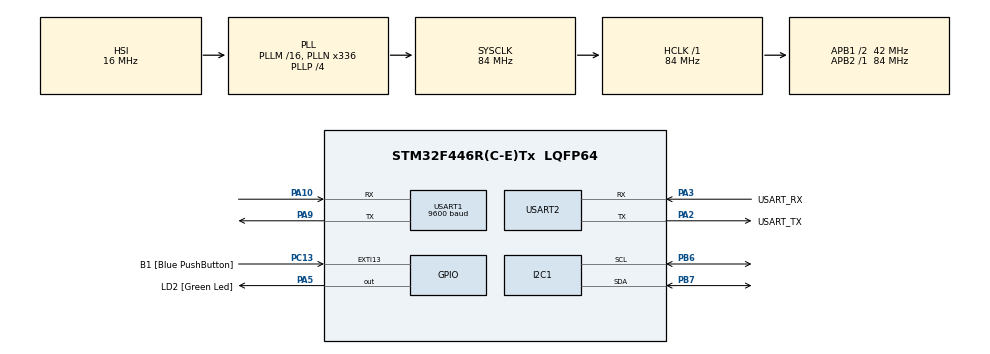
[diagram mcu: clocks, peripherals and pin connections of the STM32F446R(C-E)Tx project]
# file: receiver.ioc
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Mcu.Family=STM32F4
Mcu.Name=STM32F446R(C-E)Tx
Mcu.Package=LQFP64
NVIC.PriorityGroup=NVIC_PRIORITYGROUP_0
PA10.Mode=Asynchronous
PA10.Signal=USART1_RX
PA13.GPIO_Label=TMS
PA13.Mode=Serial_Wire
PA13.Signal=SYS_JTMS-SWDIO
PA14.GPIO_Label=TCK
PA14.Mode=Serial_Wire
PA14.Signal=SYS_JTCK-SWCLK
PA2.GPIO_Label=USART_TX
PA2.Mode=Asynchronous
PA2.Signal=USART2_TX
PA3.GPIO_Label=USART_RX
PA3.Mode=Asynchronous
PA3.Signal=USART2_RX
PA5.GPIO_Label=LD2 [Green Led]
PA5.Signal=GPIO_Output
PA9.Mode=Asynchronous
PA9.Signal=USART1_TX
PB3.GPIO_Label=SWO
PB3.Signal=SYS_JTDO-SWO
PB6.Mode=I2C
PB6.Signal=I2C1_SCL
PB7.Mode=I2C
PB7.Signal=I2C1_SDA
PC13.GPIO_Label=B1 [Blue PushButton]
PC13.GPIO_ModeDefaultEXTI=GPIO_MODE_IT_FALLING
PC13.Signal=GPXTI13
PC14-OSC32_IN.Mode=LSE-External-Oscillator
PC14-OSC32_IN.Signal=RCC_OSC32_IN
PC15-OSC32_OUT.Mode=LSE-External-Oscillator
PC15-OSC32_OUT.Signal=RCC_OSC32_OUT
PH0-OSC_IN.Mode=HSE-External-Oscillator
PH0-OSC_IN.Signal=RCC_OSC_IN
PH1-OSC_OUT.Mode=HSE-External-Oscillator
PH1-OSC_OUT.Signal=RCC_OSC_OUT
ProjectManager.HeapSize=0x200
ProjectManager.StackSize=0x400
ProjectManager.TargetToolchain=STM32CubeIDE
RCC.48MHZClocksFreq_Value=84000000
RCC.AHBFreq_Value=84000000
RCC.APB1CLKDivider=RCC_HCLK_DIV2
RCC.APB1Freq_Value=42000000
RCC.APB1TimFreq_Value=84000000
RCC.APB2Freq_Value=84000000
RCC.APB2TimFreq_Value=84000000
RCC.CortexFreq_Value=84000000
RCC.FLatency-AdvancedSettings=FLASH_LATENCY_2
RCC.HCLKFreq_Value=84000000
RCC.HSE_VALUE=8000000
RCC.HSI_VALUE=16000000
RCC.PLLN=336
RCC.PLLP=RCC_PLLP_DIV4
RCC.SYSCLKFreq_VALUE=84000000
RCC.SYSCLKSource=RCC_SYSCLKSOURCE_PLLCLK
RCC.USBFreq_Value=168000000
RCC.VCOOutputFreq_Value=336000000
USART1.BaudRate=9600
USART1.VirtualMode=VM_ASYNC
USART2.VirtualMode=VM_ASYNC
board=NUCLEO-F446RE

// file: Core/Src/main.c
/* USER CODE BEGIN Header */
/**
  ******************************************************************************
  * @file           : main.c
  * @brief          : Main program body
  ******************************************************************************
  * @attention
  *
  * Copyright (c) 2024 STMicroelectronics.
  * All rights reserved.
  *
  * This software is licensed under terms that can be found in the LICENSE file
  * in the root directory of this software component.
  * If no LICENSE file comes with this software, it is provided AS-IS.
  *
  ******************************************************************************
  */
/* USER CODE END Header */
#include "main.h"

/* USER CODE BEGIN Includes */
#include <stdint.h>
#include <string.h>
#include <stdio.h>
/* USER CODE END Includes */

/* USER CODE BEGIN PD */
#define SLAVE_ADDRESS_LCD 0x27
//#define LCD_DEBUG
//#define NOT_CONNECTED
/* USER CODE END PD */

I2C_HandleTypeDef hi2c1;

UART_HandleTypeDef huart1;
UART_HandleTypeDef huart2;

void SystemClock_Config(void);
static void MX_GPIO_Init(void);
static void MX_USART2_UART_Init(void);
static void MX_USART1_UART_Init(void);
static void MX_I2C1_Init(void);

/* USER CODE BEGIN 0 */
#define DATA_SIZE 30
char dataBuffer[DATA_SIZE];
void receiveData(char* buffer) {
    HAL_StatusTypeDef status = HAL_UART_Receive(&huart1, (uint8_t*)buffer, DATA_SIZE, 15000);
#ifdef NOT_CONNECTED
    if (status == HAL_OK) {
        HAL_UART_Transmit(&huart2, (uint8_t*)buffer, strlen(buffer), HAL_MAX_DELAY);
    } else {
        char data[30];
        sprintf(data, "HAL_UART_Receive error: %d\r\n", status);
        HAL_UART_Transmit(&huart2, (uint8_t*)data, strlen(data), HAL_MAX_DELAY);
    }
#endif
}

char tmp[16];
char VWC[16];
void translate(char* buffer, char* tmp, char* VWC) {
    int bufferIndex = 0;
    int tmpIndex = 0;
    while (dataBuffer[bufferIndex] != '\r' && dataBuffer[bufferIndex] != '\0') {
        tmp[tmpIndex] = dataBuffer[bufferIndex];
        tmpIndex++;
        bufferIndex++;
    }
    tmp[tmpIndex] = '\0';
    bufferIndex += 2;

    int VWCIndex = 0;
    while(dataBuffer[bufferIndex] != '\r' && dataBuffer[bufferIndex] != '\0') {
        VWC[VWCIndex] = dataBuffer[bufferIndex];
        VWCIndex++;
        bufferIndex++;
    }
}

//lcd1602 with i2c module
void lcd_send_cmd (char cmd) {
    char data_u, data_l;
    data_u = (cmd & 0xf0);
    data_l = ((cmd << 4) & 0xf0);
    uint8_t data_t[4];
    data_t[0] = data_u|0x0C;  // en=1, rs=0 -> bxxxx1100
    data_t[1] = data_u|0x08;  // en=0, rs=0 -> bxxxx1000
    data_t[2] = data_l|0x0C;  // en=1, rs=0 -> bxxxx1100
    data_t[3] = data_l|0x08;  // en=0, rs=0 -> bxxxx1000

    HAL_StatusTypeDef status = HAL_I2C_Master_Transmit(&hi2c1, SLAVE_ADDRESS_LCD << 1, (uint8_t *)data_t, 4, 100);

    // Debug message
#ifdef LCD_DEBUG
    if (status != HAL_OK) {
        char data[50];
        sprintf(data, "I2C Error: %d during cmd: 0x%02X\r\n", status, cmd);
        HAL_UART_Transmit(&huart2, (uint8_t*)data, strlen(data), HAL_MAX_DELAY);
    } else {
        char data[50];
        sprintf(data, "I2C Success: cmd: 0x%02X\r\n", cmd);
        HAL_UART_Transmit(&huart2, (uint8_t*)data, strlen(data), HAL_MAX_DELAY);
    }
#endif
}

void lcd_send_data (char data) {
    char data_u, data_l;
    uint8_t data_t[4];
    data_u = (data & 0xf0);
    data_l = ((data << 4) & 0xf0);
    data_t[0] = data_u | 0x0D;  // en=1, rs=1 -> bxxxx1101
    data_t[1] = data_u | 0x09;  // en=0, rs=1 -> bxxxx1001
    data_t[2] = data_l | 0x0D;  // en=1, rs=1 -> bxxxx1101
    data_t[3] = data_l | 0x09;  // en=0, rs=1 -> bxxxx1001

    HAL_StatusTypeDef status = HAL_I2C_Master_Transmit(&hi2c1, SLAVE_ADDRESS_LCD << 1, (uint8_t *)data_t, 4, 100);

    // Debug message
#ifdef LCD_DEBUG
    if (status != HAL_OK) {
        char debug_data[50];
        sprintf(debug_data, "I2C Error: %d during data: 0x%02X\r\n", status, data);
        HAL_UART_Transmit(&huart2, (uint8_t*)debug_data, strlen(debug_data), HAL_MAX_DELAY);
    } else {
        char debug_data[50];
        sprintf(debug_data, "I2C Success: data: 0x%02X\r\n", data);
        HAL_UART_Transmit(&huart2, (uint8_t*)debug_data, strlen(debug_data), HAL_MAX_DELAY);
    }
#endif
}

void lcd_init (void) {
    // 4 bit initialisation
    HAL_Delay(100);  // wait for >40ms
    lcd_send_cmd (0x30);
    HAL_Delay(10);  // wait for >4.1ms
    lcd_send_cmd (0x30);
    HAL_Delay(5);  // wait for >100us
    lcd_send_cmd (0x30);
    HAL_Delay(20);
    lcd_send_cmd (0x20);  // 4bit mode
    HAL_Delay(20);

    // display initialisation
    lcd_send_cmd (0x28); // Function set --> DL=0 (4 bit mode), N = 1 (2 line display) F = 0 (5x8 characters)
    HAL_Delay(5);
    lcd_send_cmd (0x08); //Display on/off control --> D=0,C=0, B=0  ---> display off
    HAL_Delay(5);
    lcd_send_cmd (0x01);  // clear display
    HAL_Delay(10);
    lcd_send_cmd (0x06); //Entry mode set --> I/D = 1 (increment cursor) & S = 0 (no shift)
    HAL_Delay(5);
    lcd_send_cmd (0x0C); //Display on/off control --> D = 1, C and B = 0. (Cursor and blink, last two bits)

    // Debug message
#ifdef LCD_DEBUG
    char data[30];
    sprintf(data, "LCD Initialized\r\n");
    HAL_UART_Transmit(&huart2, (uint8_t*)data, strlen(data), HAL_MAX_DELAY);
#endif
}

void lcd_send_string (char *str) {
    while (*str) lcd_send_data (*str++);
}

void lcd_put_cur(int row, int col) {
    switch (row)
    {
        case 0:
            col |= 0x80;
            break;
        case 1:
            col |= 0xC0;
            break;
    }
    lcd_send_cmd (col);
}

/* USER CODE END 0 */

int main(void)
{

  /* MCU Configuration--------------------------------------------------------*/

  /* Reset of all peripherals, Initializes the Flash interface and the Systick. */
  HAL_Init();

  /* Configure the system clock */
  SystemClock_Config();

  /* Initialize all configured peripherals */
  MX_GPIO_Init();
  MX_USART2_UART_Init();
  MX_USART1_UART_Init();
  MX_I2C1_Init();
  /* USER CODE BEGIN 2 */
  lcd_init();
  /* USER CODE END 2 */

  /* Infinite loop */
  while (1)
  {

    /* USER CODE BEGIN 3 */
    //dataBuffer stores the sensor readings, should be able to directly print to lcd screen
    receiveData(dataBuffer);
    translate(dataBuffer, tmp, VWC);
    //HAL_UART_Transmit(&huart2, (uint8_t*)dataBuffer, strlen(dataBuffer), HAL_MAX_DELAY);
    HAL_UART_Transmit(&huart2, (uint8_t*)tmp, strlen(dataBuffer), HAL_MAX_DELAY);
    HAL_UART_Transmit(&huart2, (uint8_t*)VWC, strlen(dataBuffer), HAL_MAX_DELAY);

    lcd_put_cur(0, 0);
    lcd_send_string (tmp);
    lcd_put_cur(1, 0);
    lcd_send_string(VWC);

    HAL_Delay(2000);
  }
  /* USER CODE END 3 */
}

void SystemClock_Config(void)
{
  RCC_OscInitTypeDef RCC_OscInitStruct = {0};
  RCC_ClkInitTypeDef RCC_ClkInitStruct = {0};

  /** Configure the main internal regulator output voltage
  */
  __HAL_RCC_PWR_CLK_ENABLE();
  __HAL_PWR_VOLTAGESCALING_CONFIG(PWR_REGULATOR_VOLTAGE_SCALE3);

  /** Initializes the RCC Oscillators according to the specified parameters
  * in the RCC_OscInitTypeDef structure.
  */
  RCC_OscInitStruct.OscillatorType = RCC_OSCILLATORTYPE_HSI;
  RCC_OscInitStruct.HSIState = RCC_HSI_ON;
  RCC_OscInitStruct.HSICalibrationValue = RCC_HSICALIBRATION_DEFAULT;
  RCC_OscInitStruct.PLL.PLLState = RCC_PLL_ON;
  RCC_OscInitStruct.PLL.PLLSource = RCC_PLLSOURCE_HSI;
  RCC_OscInitStruct.PLL.PLLM = 16;
  RCC_OscInitStruct.PLL.PLLN = 336;
  RCC_OscInitStruct.PLL.PLLP = RCC_PLLP_DIV4;
  RCC_OscInitStruct.PLL.PLLQ = 2;
  RCC_OscInitStruct.PLL.PLLR = 2;
  if (HAL_RCC_OscConfig(&RCC_OscInitStruct) != HAL_OK)
  {
    Error_Handler();
  }

  /** Initializes the CPU, AHB and APB buses clocks
  */
  RCC_ClkInitStruct.ClockType = RCC_CLOCKTYPE_HCLK|RCC_CLOCKTYPE_SYSCLK
                              |RCC_CLOCKTYPE_PCLK1|RCC_CLOCKTYPE_PCLK2;
  RCC_ClkInitStruct.SYSCLKSource = RCC_SYSCLKSOURCE_PLLCLK;
  RCC_ClkInitStruct.AHBCLKDivider = RCC_SYSCLK_DIV1;
  RCC_ClkInitStruct.APB1CLKDivider = RCC_HCLK_DIV2;
  RCC_ClkInitStruct.APB2CLKDivider = RCC_HCLK_DIV1;

  if (HAL_RCC_ClockConfig(&RCC_ClkInitStruct, FLASH_LATENCY_2) != HAL_OK)
  {
    Error_Handler();
  }
}

static void MX_I2C1_Init(void)
{

  hi2c1.Instance = I2C1;
  hi2c1.Init.ClockSpeed = 100000;
  hi2c1.Init.DutyCycle = I2C_DUTYCYCLE_2;
  hi2c1.Init.OwnAddress1 = 0;
  hi2c1.Init.AddressingMode = I2C_ADDRESSINGMODE_7BIT;
  hi2c1.Init.DualAddressMode = I2C_DUALADDRESS_DISABLE;
  hi2c1.Init.OwnAddress2 = 0;
  hi2c1.Init.GeneralCallMode = I2C_GENERALCALL_DISABLE;
  hi2c1.Init.NoStretchMode = I2C_NOSTRETCH_DISABLE;
  if (HAL_I2C_Init(&hi2c1) != HAL_OK)
  {
    Error_Handler();
  }

}

static void MX_USART1_UART_Init(void)
{

  huart1.Instance = USART1;
  huart1.Init.BaudRate = 9600;
  huart1.Init.WordLength = UART_WORDLENGTH_8B;
  huart1.Init.StopBits = UART_STOPBITS_1;
  huart1.Init.Parity = UART_PARITY_NONE;
  huart1.Init.Mode = UART_MODE_TX_RX;
  huart1.Init.HwFlowCtl = UART_HWCONTROL_NONE;
  huart1.Init.OverSampling = UART_OVERSAMPLING_16;
  if (HAL_UART_Init(&huart1) != HAL_OK)
  {
    Error_Handler();
  }

}

static void MX_USART2_UART_Init(void)
{

  huart2.Instance = USART2;
  huart2.Init.BaudRate = 115200;
  huart2.Init.WordLength = UART_WORDLENGTH_8B;
  huart2.Init.StopBits = UART_STOPBITS_1;
  huart2.Init.Parity = UART_PARITY_NONE;
  huart2.Init.Mode = UART_MODE_TX_RX;
  huart2.Init.HwFlowCtl = UART_HWCONTROL_NONE;
  huart2.Init.OverSampling = UART_OVERSAMPLING_16;
  if (HAL_UART_Init(&huart2) != HAL_OK)
  {
    Error_Handler();
  }

}

static void MX_GPIO_Init(void)
{
  GPIO_InitTypeDef GPIO_InitStruct = {0};

  /* GPIO Ports Clock Enable */
  __HAL_RCC_GPIOC_CLK_ENABLE();
  __HAL_RCC_GPIOH_CLK_ENABLE();
  __HAL_RCC_GPIOA_CLK_ENABLE();
  __HAL_RCC_GPIOB_CLK_ENABLE();

  /*Configure GPIO pin Output Level */
  HAL_GPIO_WritePin(LD2_GPIO_Port, LD2_Pin, GPIO_PIN_RESET);

  /*Configure GPIO pin : B1_Pin */
  GPIO_InitStruct.Pin = B1_Pin;
  GPIO_InitStruct.Mode = GPIO_MODE_IT_FALLING;
  GPIO_InitStruct.Pull = GPIO_NOPULL;
  HAL_GPIO_Init(B1_GPIO_Port, &GPIO_InitStruct);

  /*Configure GPIO pin : LD2_Pin */
  GPIO_InitStruct.Pin = LD2_Pin;
  GPIO_InitStruct.Mode = GPIO_MODE_OUTPUT_PP;
  GPIO_InitStruct.Pull = GPIO_NOPULL;
  GPIO_InitStruct.Speed = GPIO_SPEED_FREQ_LOW;
  HAL_GPIO_Init(LD2_GPIO_Port, &GPIO_InitStruct);

}

void Error_Handler(void)
{
  /* USER CODE BEGIN Error_Handler_Debug */
  /* User can add his own implementation to report the HAL error return state */
  __disable_irq();
  while (1)
  {
      char data[30];
      sprintf(data, "error\r\n");
      HAL_UART_Transmit(&huart2, (uint8_t*)data, strlen(data), HAL_MAX_DELAY);
  }
  /* USER CODE END Error_Handler_Debug */
}
